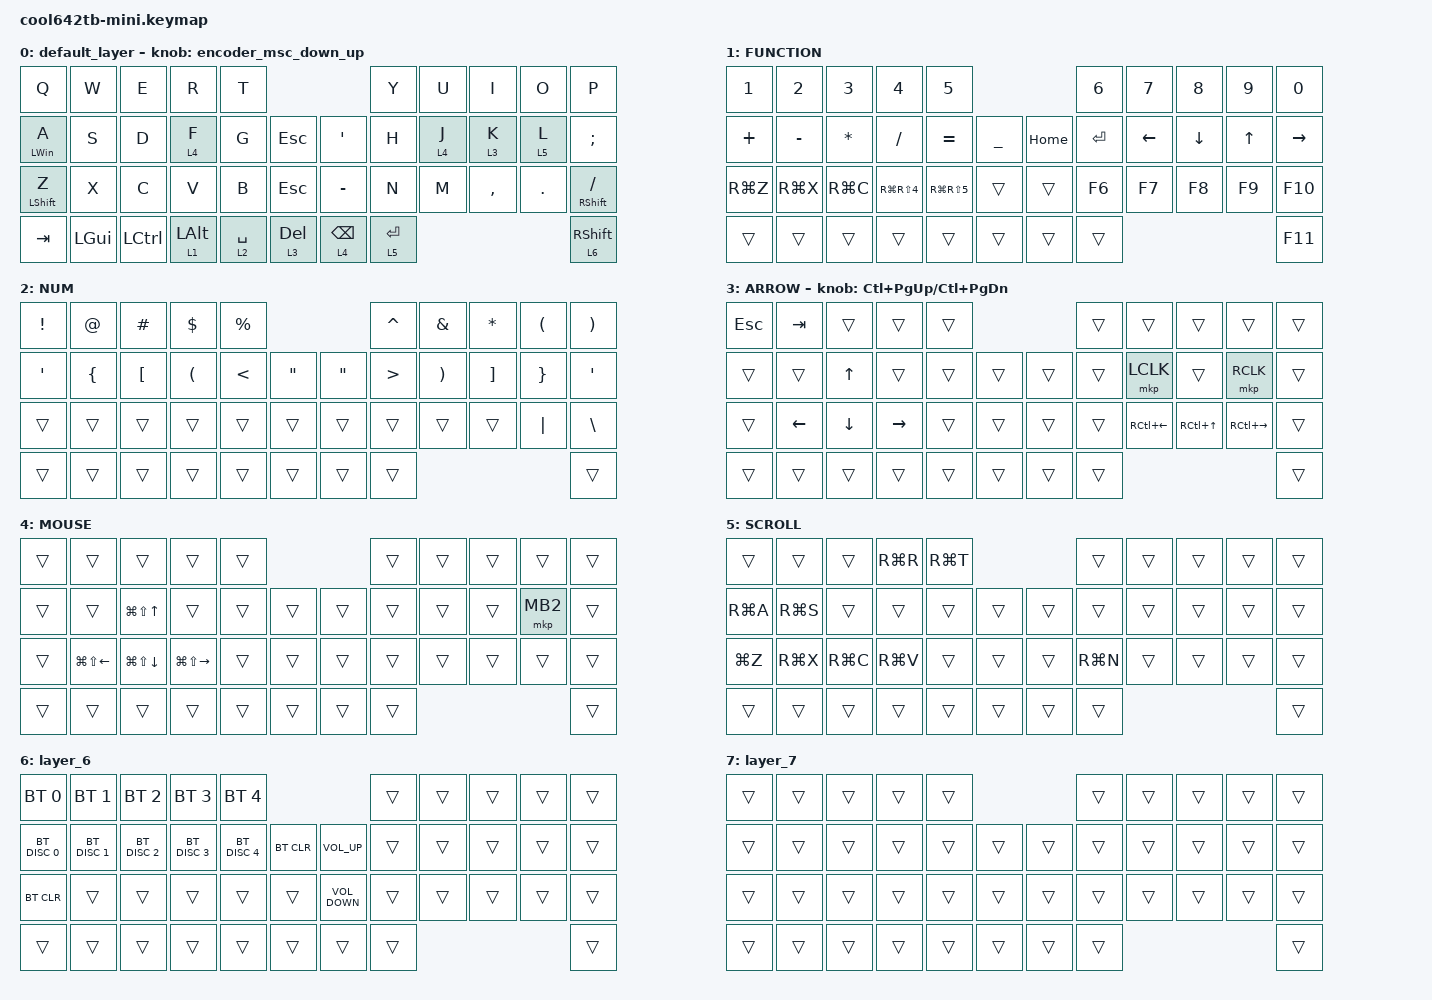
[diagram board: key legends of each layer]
#include <behaviors.dtsi>
#include <dt-bindings/zmk/bt.h>
#include <dt-bindings/zmk/keys.h>
#include <dt-bindings/zmk/pointing.h>

#define MOUSE 4
#define SCROLL 5
#define NUM 6
#define ZMK_POINTING_DEFAULT_SCRL_VAL 80

&mt {
    flavor = "balanced";
    tapping-term-ms = <220>;
    quick-tap-ms = <175>;
    require-prior-idle-ms = <125>;
};

&lt { require-prior-idle-ms = <125>; };

/ {
    combos {
        compatible = "zmk,combos";

        shift_tab {
            bindings = <&kp LANG2>;
            key-positions = <3 2>;
        };

        lang {
            bindings = <&kp LANG1>;
            key-positions = <6 7>;
        };
    };

    behaviors {
        encoder_msc_down_up: encoder_msc_down_up {
            compatible = "zmk,behavior-sensor-rotate";
            label = "ENCODER_MSC_DOWN_UP";
            #sensor-binding-cells = <0>;
            bindings = <&msc SCRL_UP>, <&msc SCRL_DOWN>;

            tap-ms = <20>;
        };
    };

    keymap {
        compatible = "zmk,keymap";

        default_layer {
            bindings = <
&kp Q             &kp W         &kp E      &kp R           &kp T                                            &kp Y        &kp U    &kp I      &kp O    &kp P
&mt LEFT_WIN A    &kp S         &kp D      &lt 4 F         &kp G        &kp ESC           &kp SINGLE_QUOTE  &kp H        &lt 4 J  &lt 3 K    &lt 5 L  &kp SEMICOLON
&mt LEFT_SHIFT Z  &kp X         &kp C      &kp V           &kp B        &kp ESC           &kp MINUS         &kp N        &kp M    &kp COMMA  &kp DOT  &mt RIGHT_SHIFT SLASH
&kp TAB           &kp LEFT_GUI  &kp LCTRL  &lt 1 LEFT_ALT  &lt 2 SPACE  &lt 3 DELETE      &lt 4 BACKSPACE   &lt 5 ENTER                               &lt 6 RIGHT_SHIFT
            >;

            sensor-bindings = <&encoder_msc_down_up>;
        };

        FUNCTION {
            bindings = <
&kp N1     &kp N2     &kp N3     &kp N4          &kp N5                                   &kp N6     &kp N7    &kp N8    &kp N9        &kp N0
&kp PLUS   &kp MINUS  &kp ASTRK  &kp SLASH       &kp EQUAL       &kp UNDER      &kp HOME  &kp ENTER  &kp LEFT  &kp DOWN  &kp UP_ARROW  &kp RIGHT
&kp RG(Z)  &kp RG(X)  &kp RG(C)  &kp RG(RS(N4))  &kp RG(RS(N5))  &trans         &trans    &kp F6     &kp F7    &kp F8    &kp F9        &kp F10
&trans     &trans     &trans     &trans          &trans          &trans         &trans    &trans                                       &kp F11
            >;
        };

        NUM {
            bindings = <
&kp EXCLAMATION  &kp AT          &kp POUND  &kp DOLLAR            &kp PERCENT                                              &kp CARET         &kp AMPERSAND          &kp ASTERISK  &kp LEFT_PARENTHESIS  &kp RIGHT_PARENTHESIS
&kp SQT          &kp LEFT_BRACE  &kp LBKT   &kp LEFT_PARENTHESIS  &kp LESS_THAN  &kp DOUBLE_QUOTES      &kp DOUBLE_QUOTES  &kp GREATER_THAN  &kp RIGHT_PARENTHESIS  &kp RBKT      &kp RIGHT_BRACE       &kp SQT
&trans           &trans          &trans     &trans                &trans         &trans                 &trans             &trans            &trans                 &trans        &kp PIPE              &kp BACKSLASH
&trans           &trans          &trans     &trans                &trans         &trans                 &trans             &trans                                                                       &trans
            >;
        };

        ARROW {
            bindings = <
&kp ESCAPE  &kp TAB   &trans    &trans     &trans                      &trans  &trans              &trans            &trans               &trans
&trans      &trans    &kp UP    &trans     &trans  &trans      &trans  &trans  &mkp LCLK           &trans            &mkp RCLK            &trans
&trans      &kp LEFT  &kp DOWN  &kp RIGHT  &trans  &trans      &trans  &trans  &kp RC(LEFT_ARROW)  &kp RC(UP_ARROW)  &kp RC(RIGHT_ARROW)  &trans
&trans      &trans    &trans    &trans     &trans  &trans      &trans  &trans                                                             &trans
            >;

            sensor-bindings = <&inc_dec_kp LC(PAGE_UP) LC(PAGE_DOWN)>;
        };

        MOUSE {
            bindings = <
&trans  &trans            &trans                &trans             &trans                      &trans  &trans  &trans  &trans    &trans
&trans  &trans            &kp LG(LS(UP_ARROW))  &trans             &trans  &trans      &trans  &trans  &trans  &trans  &mkp MB2  &trans
&trans  &kp LG(LS(LEFT))  &kp LG(LS(DOWN))      &kp LG(LS(RIGHT))  &trans  &trans      &trans  &trans  &trans  &trans  &trans    &trans
&trans  &trans            &trans                &trans             &trans  &trans      &trans  &trans                            &trans
            >;
        };

        SCROLL {
            bindings = <
&trans     &trans     &trans     &kp RG(R)  &kp RG(T)                      &trans     &trans  &trans  &trans  &trans
&kp RG(A)  &kp RG(S)  &trans     &trans     &trans     &trans      &trans  &trans     &trans  &trans  &trans  &trans
&kp LG(Z)  &kp RG(X)  &kp RG(C)  &kp RG(V)  &trans     &trans      &trans  &kp RG(N)  &trans  &trans  &trans  &trans
&trans     &trans     &trans     &trans     &trans     &trans      &trans  &trans                             &trans
            >;
        };

        layer_6 {
            bindings = <
&bt BT_SEL 0   &bt BT_SEL 1   &bt BT_SEL 2   &bt BT_SEL 3   &bt BT_SEL 4                                      &trans  &trans  &trans  &trans  &trans
&bt BT_DISC 0  &bt BT_DISC 1  &bt BT_DISC 2  &bt BT_DISC 3  &bt BT_DISC 4  &bt BT_CLR      &kp C_VOLUME_UP    &trans  &trans  &trans  &trans  &trans
&bt BT_CLR     &trans         &trans         &trans         &trans         &trans          &kp C_VOLUME_DOWN  &trans  &trans  &trans  &trans  &trans
&trans         &trans         &trans         &trans         &trans         &trans          &trans             &trans                          &trans
            >;
        };

        layer_7 {
            bindings = <
&trans  &trans  &trans  &trans  &trans                      &trans  &trans  &trans  &trans  &trans
&trans  &trans  &trans  &trans  &trans  &trans      &trans  &trans  &trans  &trans  &trans  &trans
&trans  &trans  &trans  &trans  &trans  &trans      &trans  &trans  &trans  &trans  &trans  &trans
&trans  &trans  &trans  &trans  &trans  &trans      &trans  &trans                          &trans
            >;
        };
    };
};
